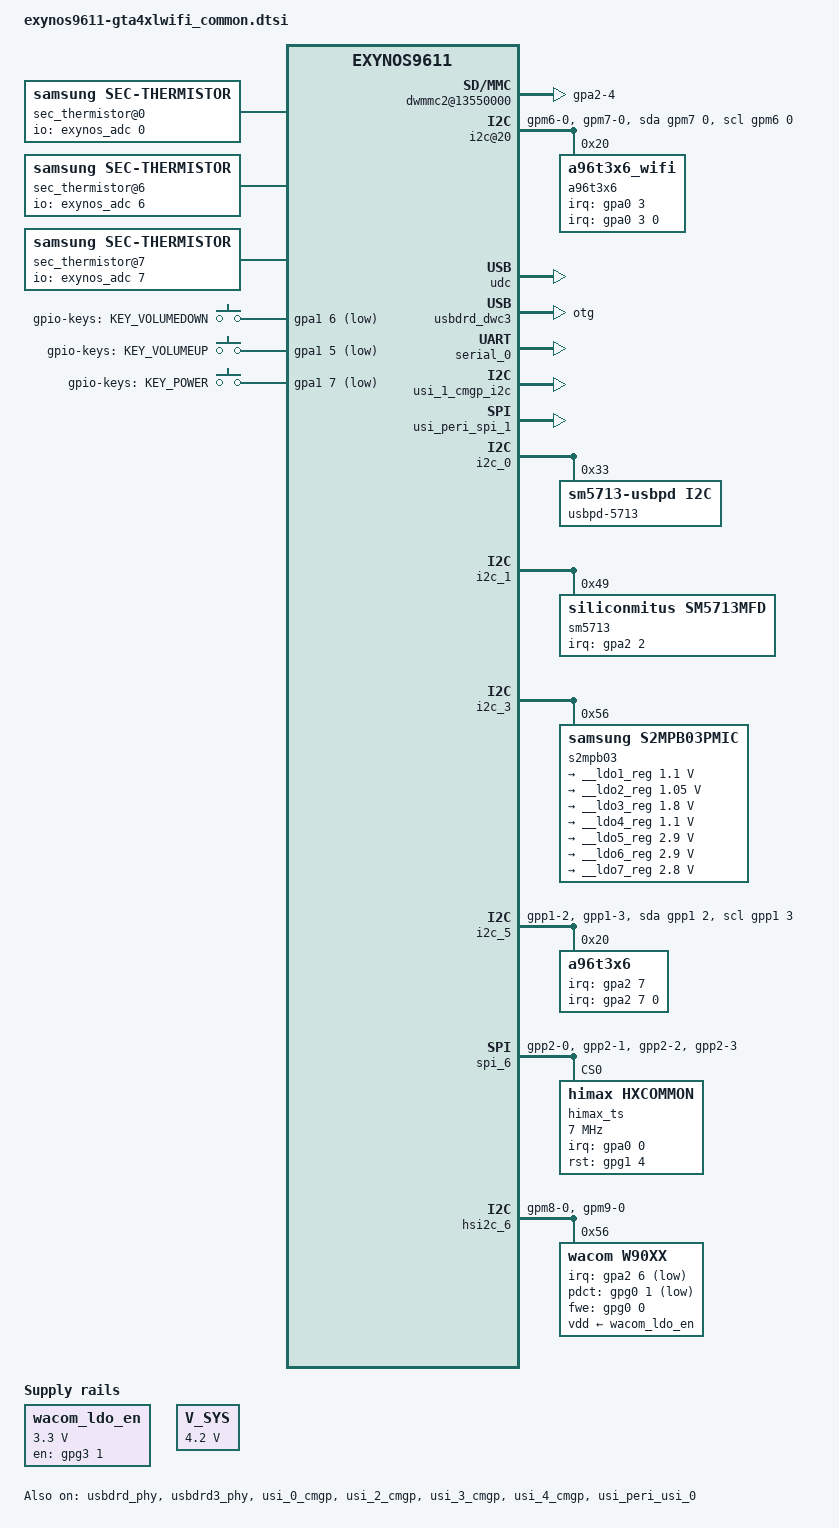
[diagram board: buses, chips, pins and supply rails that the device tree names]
/*
 * SAMSUNG EXYNOS9610 board device tree source
 *
 * Copyright (c) 2018 Samsung Electronics Co., Ltd.
 *		http://www.samsung.com
 *
 * This program is free software; you can redistribute it and/or modify
 * it under the terms of the GNU General Public License version 2 as
 * published by the Free Software Foundation.
 */

#include <dt-bindings/camera/fimc_is.h>
#include <dt-bindings/clock/exynos9610.h>
#include <dt-bindings/input/input.h>
#include <dt-bindings/interrupt-controller/irq.h>
#include <dt-bindings/gpio/gpio.h>
#include "modem-s327ap-sipc-wifi.dtsi"
#include "display-lcd_gta4xl_common.dtsi"
#include "exynos9611-gta4xlwifi_camera.dtsi"
#include "exynos9611-gta4xlwifi_sound.dtsi"
#include "exynos9611-gta4xlwifi_mst_00.dtsi"

/ {

	fragment@model {
		target-path = "/";
		__overlay__ {
			#address-cells = <2>;
			#size-cells = <1>;

			fixed-rate-clocks {
				oscclk {
					compatible = "samsung,exynos9610-oscclk";
					clock-frequency = <26000000>;
				};
			};

			secgpio_dvs {
				compatible = "samsung,exynos9610-secgpio-dvs";
				status = "okay";
			};

			sec_abc {
				compatible = "samsung,sec_abc";
				status = "okay";

				gpu {
					gpu,label="GPU fault";
					gpu,threshold_count=<20>;
					gpu,threshold_time=<1200>;
				};
				aicl {
					aicl,label="battery aicl";
					aicl,threshold_count=<5>;
					aicl,threshold_time=<300>;
				};
			};

			abc_hub {
				compatible = "samsung,abc_hub";
				status = "okay";

				bootc {
					bootc,time_spec_user = <100000>; /* user binary user build */
					bootc,time_spec_eng = <100000>; /* user binary eng build */
					bootc,time_spec_fac = <100000>; /* factory binary */
				};
			};

			speedy@11a10000 {
				#address-cells = <1>;
				#size-cells = <0>;
				status = "okay";
				s2mpu09mfd@00 {
					compatible = "samsung,s2mpu09mfd";
					acpm-ipc-channel = <2>;
					i2c-speedy-address;
					s2mpu09,wakeup = "enabled";
					s2mpu09,irq-gpio = <&gpa2 0 0>;
					reg = <0x00>;
					interrupts = <2 0 0>;
					interrupt-parent = <&gpa2>;
					pinctrl-names = "default";
					pinctrl-0 = <&pmic_irq &pm_wrsti>;
					/* RTC: wtsr/smpl */
					wtsr_en = "enabled"; /* enable */
					smpl_en = "enabled"; /* enable */
					wtsr_timer_val = <3>;	/* 1000ms */
					smpl_timer_val = <0>;	/* 100ms */
					check_jigon = <0>; /* do not check jigon */
					/* RTC: If it's first boot, reset rtc to 1/1/2019 12:00:00(Tue) */
					init_time,sec = <0>;
					init_time,min = <0>;
					init_time,hour = <12>;
					init_time,mday = <1>;
					init_time,mon = <0>;
					init_time,year = <119>;
					init_time,wday = <2>;

					regulators {
						b1_reg: BUCK1 {
							regulator-name = "vdd_mif";
							regulator-min-microvolt = <500000>;
							regulator-max-microvolt = <1100000>;
							regulator-always-on;
							regulator-ramp-delay = <12000>;
							regulator-initial-mode = <2>;
						};

						b2_reg: BUCK2 {
							regulator-name = "vdd_cpucl1";
							regulator-min-microvolt = <500000>;
							regulator-max-microvolt = <1300000>;
							regulator-always-on;
							regulator-ramp-delay = <12000>;
							regulator-initial-mode = <1>;
						};

						b3_reg: BUCK3 {
							regulator-name = "vdd_cpucl0";
							regulator-min-microvolt = <500000>;
							regulator-max-microvolt = <1300000>;
							regulator-always-on;
							regulator-ramp-delay = <12000>;
							regulator-initial-mode = <1>;
						};

						b4_reg: BUCK4{
							regulator-name = "vdd_int";
							regulator-min-microvolt = <500000>;
							regulator-max-microvolt = <1100000>;
							regulator-always-on;
							regulator-ramp-delay = <12000>;
							regulator-initial-mode = <2>;
						};

						b5_reg: BUCK5 {
							regulator-name = "vdd_g3d";
							regulator-min-microvolt = <500000>;
							regulator-max-microvolt = <1200000>;
							regulator-always-on;
							regulator-ramp-delay = <12000>;
							regulator-initial-mode = <2>;
						};

						b6_reg: BUCK6 {
							regulator-name = "vdd_cam_vipx";
							regulator-min-microvolt = <500000>;
							regulator-max-microvolt = <1300000>;
							regulator-always-on;
							regulator-ramp-delay = <12000>;
							regulator-initial-mode = <2>;
						};

						b7_reg: BUCK7 {
							regulator-name = "vdd2_mem";
							regulator-min-microvolt = <500000>;
							regulator-max-microvolt = <1300000>;
							regulator-always-on;
							regulator-ramp-delay = <12000>;
							regulator-initial-mode = <3>;
						};

						b8_reg: BUCK8 {
							regulator-name = "vdd_lldo";
							regulator-min-microvolt = <1200000>;
							regulator-max-microvolt = <1500000>;
							regulator-always-on;
							regulator-ramp-delay = <12000>;
							regulator-initial-mode = <3>;
						};

						b9_reg: BUCK9 {
							regulator-name = "vdd_mldo";
							regulator-min-microvolt = <1800000>;
							regulator-max-microvolt = <2100000>;
							regulator-always-on;
							regulator-ramp-delay = <12000>;
							regulator-initial-mode = <3>;
						};

						l1_reg: LDO1 {
							regulator-name = "vdd_ldo1";
							regulator-min-microvolt = <700000>;
							regulator-max-microvolt = <1300000>;
							regulator-always-on;
							regulator-ramp-delay = <12000>;
							regulator-initial-mode = <3>;
						};

						l2_reg: LDO2 {
							regulator-name = "vqmmc";
							regulator-min-microvolt = <1800000>;
							regulator-max-microvolt = <3375000>;
							regulator-ramp-delay = <12000>;
						};

						l3_reg: LDO3 {
							regulator-name = "vdd_ldo3";
							regulator-min-microvolt = <800000>;
							regulator-max-microvolt = <1950000>;
							regulator-always-on;
							regulator-ramp-delay = <12000>;
							regulator-initial-mode = <3>;
						};

						l4_reg: LDO4 {
							regulator-name = "vdd_ldo4";
							regulator-min-microvolt = <500000>;
							regulator-max-microvolt = <1100000>;
							regulator-always-on;
							regulator-ramp-delay = <12000>;
							regulator-initial-mode = <1>;
						};

						l5_reg: LDO5 {
							regulator-name = "vdd_ldo5";
							regulator-min-microvolt = <800000>;
							regulator-max-microvolt = <1300000>;
							regulator-always-on;
							regulator-ramp-delay = <12000>;
							regulator-initial-mode = <1>;
						};

						l6_reg: LDO6 {
							regulator-name = "vdd_ldo6";
							regulator-min-microvolt = <800000>;
							regulator-max-microvolt = <1300000>;
							regulator-always-on;
							regulator-ramp-delay = <12000>;
							regulator-initial-mode = <1>;
						};

						l7_reg: LDO7 {
							regulator-name = "vdd_ldo7";
							regulator-min-microvolt = <800000>;
							regulator-max-microvolt = <1950000>;
							regulator-always-on;
							regulator-ramp-delay = <12000>;
							regulator-initial-mode = <1>;
						};

						l8_reg: LDO8 {
							regulator-name = "vdd_ldo8";
							regulator-min-microvolt = <500000>;
							regulator-max-microvolt = <1300000>;
							regulator-always-on;
							regulator-ramp-delay = <12000>;
							regulator-initial-mode = <1>;
						};

						l9_reg: LDO9 {
							regulator-name = "vdd_ldo9";
							regulator-min-microvolt = <500000>;
							regulator-max-microvolt = <1300000>;
							regulator-always-on;
							regulator-ramp-delay = <12000>;
							regulator-initial-mode = <1>;
						};

						l10_reg: LDO10 {
							regulator-name = "vdd_ldo10";
							regulator-min-microvolt = <500000>;
							regulator-max-microvolt = <1300000>;
							regulator-always-on;
							regulator-ramp-delay = <12000>;
							regulator-initial-mode = <1>;
						};

						l11_reg: LDO11 {
							regulator-name = "vdd_ldo11";
							regulator-min-microvolt = <500000>;
							regulator-max-microvolt = <1300000>;
							regulator-always-on;
							regulator-ramp-delay = <12000>;
							regulator-initial-mode = <3>;
						};

						l12_reg: LDO12 {
							regulator-name = "vdd_ldo12";
							regulator-min-microvolt = <800000>;
							regulator-max-microvolt = <1300000>;
							regulator-ramp-delay = <12000>;
							regulator-initial-mode = <3>;
						};

						l13_reg: LDO13 {
							regulator-name = "vdd_ldo13";
							regulator-min-microvolt = <800000>;
							regulator-max-microvolt = <1950000>;
							regulator-ramp-delay = <12000>;
							regulator-initial-mode = <3>;
						};

						l14_reg: LDO14 {
							regulator-name = "vdd_ldo14";
							regulator-min-microvolt = <1800000>;
							regulator-max-microvolt = <3375000>;
							regulator-ramp-delay = <12000>;
							regulator-initial-mode = <3>;
						};

						l33_reg: LDO33 {
							regulator-name = "vdd_ldo33";
							regulator-min-microvolt = <1800000>;
							regulator-max-microvolt = <1800000>;
							regulator-initial-mode = <3>;
						};

						l34_reg: LDO34 {
							regulator-name = "vdd_ldo34";
							regulator-min-microvolt = <1800000>;
							regulator-max-microvolt = <3375000>;
							regulator-ramp-delay = <12000>;
						};

						l35_reg: LDO35 {
							regulator-name = "vmmc";
							regulator-min-microvolt = <1800000>;
							regulator-max-microvolt = <3375000>;
							regulator-ramp-delay = <12000>;
						};

						l36_reg: LDO36 {
							regulator-name = "vdd_ldo36";
							regulator-min-microvolt = <500000>;
							regulator-max-microvolt = <1300000>;
							regulator-always-on;
							regulator-ramp-delay = <12000>;
							regulator-initial-mode = <1>;
						};

						l37_reg: LDO37 {
							regulator-name = "vdd_ldo37";
							regulator-min-microvolt = <2800000>;
							regulator-max-microvolt = <2800000>;
							regulator-ramp-delay = <12000>;
						};

						l38_reg: LDO38 {
							regulator-name = "VDD_BTP_3P3";
							regulator-min-microvolt = <3300000>;
							regulator-max-microvolt = <3300000>;
							regulator-ramp-delay = <12000>;
						};

						l39_reg: LDO39 {
							regulator-name = "vdd_ldo39";
							regulator-min-microvolt = <1800000>;
							regulator-max-microvolt = <1800000>;
							regulator-initial-mode = <3>;
						};

						l40_reg: LDO40 {
							regulator-name = "regulator_3v3";
							regulator-min-microvolt = <3300000>;
							regulator-max-microvolt = <3300000>;
							regulator-initial-mode = <3>;
							regulator-boot-on;
						};

						l41_reg: LDO41 {
							regulator-name = "vdd_ldo41";
							regulator-min-microvolt = <1800000>;
							regulator-max-microvolt = <3375000>;
							regulator-ramp-delay = <12000>;
						};

						l42_reg: LDO42 {
							regulator-name = "regulator_1v8";
							regulator-min-microvolt = <1800000>;
							regulator-max-microvolt = <1800000>;
							regulator-ramp-delay = <12000>;
							regulator-initial-mode = <3>;
							regulator-boot-on;
						};

						l43_reg: LDO43 {
							regulator-name = "vdd_ldo43";
							regulator-min-microvolt = <500000>;
							regulator-max-microvolt = <1300000>;
							regulator-always-on;
							regulator-ramp-delay = <12000>;
							regulator-initial-mode = <1>;
						};

						l44_reg: LDO44 {
							regulator-name = "vdd_ldo44";
							regulator-min-microvolt = <1200000>;
							regulator-max-microvolt = <1200000>;
							regulator-ramp-delay = <12000>;
						};
					};
				};
			};

			sec_thermistor@0 {
				compatible = "samsung,sec-thermistor";
				status = "okay";
				thermistor_name = "sec-ap-thermistor";
				id = <0>;

				adc_array = <369 423 444 606 693 838 982 1144 1274 1457
					1680 1899 2091 2344 2617 2703 2895 3110 3194 3343
					3396>;
				temp_array = <800 750 700 650 600 550 500 450 400 350
					300 250 200 150 100 50 0 (-50) (-100) (-150)
					(-200)>;

				io-channels = <&exynos_adc 0>;
				io-channel-names = "adc-ap-temp";
				io-channel-ranges;
			};

			sec_thermistor@6 {
				compatible = "samsung,sec-thermistor";
				status = "okay";
				thermistor_name = "sec-wf-thermistor";
				id = <1>;

				adc_array = <418 486 569 673 777 916 1059 1222 1397 1590
					1797 2009 2222 2441 2660 2845 3030 3181 3317 3429
					3523>;
				temp_array = <800 750 700 650 600 550 500 450 400 350
					300 250 200 150 100 50 0 (-50) (-100) (-150)
					(-200)>;

				io-channels = <&exynos_adc 6>;
				io-channel-names = "adc-wf-temp";
				io-channel-ranges;
			};

			sec_thermistor@7 {
				compatible = "samsung,sec-thermistor";
				status = "okay";
				thermistor_name = "sec-bk-thermistor";
				id = <2>;

				adc_array = <414 475 560 654 755 887 1030 1161 1375 1572
					1789 2006 2226 2466 2703 2903 3100 3280 3425 3541
					3657>;
				temp_array = <800 750 700 650 600 550 500 450 400 350
					300 250 200 150 100 50 0 (-50) (-100) (-150)
					(-200)>;

				io-channels = <&exynos_adc 7>;
				io-channel-names = "adc-bk-temp";
				io-channel-ranges;
			};

			exynos_rgt {
				compatible = "samsung,exynos-rgt";
			};

			mailbox_cp: mcu_ipc@11920000 {
				compatible = "samsung,exynos-shd-ipc-mailbox";
				reg = <0x0 0x11920000 0x180>;
				mcu,name = "mcu_ipc_cp";
				mcu,id = <0>;
				interrupts = <0 40 0 >;
				mcu,irq_affinity_mask = <3>;
			};

			mif_pdata {
				/* GPIOs for HW REV */
				/* XGPIO27-AP_REV0, XGPIO28-AP_REV1, XGPIO29-AP_REV2 */
				gpios = <&gpg3 3 0>, <&gpg3 4 0>, <&gpg3 5 0>;
				pinctrl-names = "default";
			};

			mailbox_gnss: mcu_ipc@11A00000 {
				compatible = "samsung,exynos-shd-ipc-mailbox";
				reg = <0x0 0x11A00000 0x180>;
				mcu,name = "mcu_ipc_gnss";
				mcu,id = <1>;
				interrupts = <0 43 0>; /* INTREQ__MAILBOX_GNSS2AP */
			};

			gnss_pdata {
				status = "okay";

				compatible = "samsung,gnss_shdmem_if";
				shmem,name = "KEPLER";
				shmem,device_node_name = "gnss_ipc";

				/* INTREQ__ALIVE_GNSS_ACTIVE, INTREQ__GNSS2AP_WDOG_RESET, INTREQ__GNSS2AP_WAKEUP, INTREQ__GNSS2AP */
				interrupts = <0 27 0>, <0 81 0>, <0 80 0>, <0 79 0>;
				interrupt-names = "ACTIVE", "WATCHDOG", "WAKEUP", "REQ_INIT";

				memory-region = <&gnss_reserved>;
				mbox_info = <&mailbox_gnss>;

				mbx,int_ap2gnss_bcmd = <0>;
				mbx,int_ap2gnss_req_fault_info = <1>;
				mbx,int_ap2gnss_ipc_msg = <2>;
				mbx,int_ap2gnss_ack_wake_set = <3>;
				mbx,int_ap2gnss_ack_wake_clr = <4>;

				mbx,irq_gnss2ap_bcmd = <0>;
				mbx,irq_gnss2ap_rsp_fault_info = <1>;
				mbx,irq_gnss2ap_ipc_msg = <2>;
				mbx,irq_gnss2ap_req_wake_clr = <4>;

				mbx,reg_bcmd_ctrl = <0>, <1>, <2>, <3>;

				reg_rx_ipc_msg = <1 5>;
				reg_tx_ipc_msg = <1 4>;
				reg_rx_head = <1 3>;
				reg_rx_tail = <1 2>;
				reg_tx_head = <1 1>;
				reg_tx_tail = <1 0>;
				fault_info = <1 0x200000 0x180000>;

				shmem,ipc_offset = <0x380000>;
				shmem,ipc_size = <0x80000>;
				shmem,ipc_reg_cnt = <32>;
			};

			gpio_keys {
				#address-cells = <1>;
				#size-cells = <0>;
				compatible = "gpio-keys";
				status = "okay";
				pinctrl-names = "default";
				pinctrl-0 = <&key_voldown &key_volup &key_power>;
				button@2 {
					label = "gpio-keys: KEY_VOLUMEDOWN";
					linux,code = <114>;
					gpios = <&gpa1 6 0xf>;
				};
				button@3 {
					label = "gpio-keys: KEY_VOLUMEUP";
					linux,code = <115>;
					gpios = <&gpa1 5 0xf>;
				};
				button@4 {
					label = "gpio-keys: KEY_POWER";
					linux,code = <116>;
					gpios = <&gpa1 7 0xf>;
					gpio-key,wakeup = <1>;
				};
			};

			wacom_ldo_en: wacom-ldo-en {
				compatible = "regulator-fixed";
				regulator-name = "wacom_3.3v";
				regulator-min-microvolt = <3300000>;
				regulator-max-microvolt = <3300000>;
				gpio = <&gpg3 1 0>;
				enable-active-high;
			};

			usb_notifier {
				compatible = "samsung,usb-notifier";
				udc = <&udc>;
				disable_host_wakelock;
			};

			V_SYS: fixedregulator@1 {
				compatible = "regulator-fixed";
				regulator-name = "V_SYS";
				regulator-min-microvolt = <4200000>;
				regulator-max-microvolt = <4200000>;
				regulator-boot-on;
				regulator-always-on;
			};

			dwmmc2@13550000 {
				status = "okay";
				num-slots = <1>;
				supports-4bit;
				supports-cmd23;
				supports-erase;
				supports-highspeed;
				sd-uhs-sdr50;
				sd-uhs-sdr104;
				card-detect-gpio;
				bypass-for-allpass;
				card-init-hwacg-ctrl;
				skip-init-mmc-scan;
				qos-dvfs-int-level = <533000>;
				qos-dvfs-mif-level = <676000>;
				fifo-depth = <0x40>;
				desc-size = <4>;
				card-detect-delay = <200>;
				data-timeout = <200>;
				hto-timeout = <80>;
				samsung,dw-mshc-ciu-div = <3>;
				clock-frequency = <800000000>;
				ssc-rate = <3>;
				samsung,dw-mshc-sdr-timing = <3 0 2 0>;
				samsung,dw-mshc-ddr-timing = <3 0 2 1>;
				samsung,dw-mshc-sdr50-timing = <3 0 4 2>;
				samsung,dw-mshc-sdr104-timing = <3 0 3 0>;

				num-ref-clks = <9>;
				ciu_clkin = <25 50 50 25 50 100 200 50 50>;

				/* Swapping clock drive strength */
				clk-drive-number = <4>;
				pinctrl-names = "default",
					"fast-slew-rate-1x",
					"fast-slew-rate-2x",
					"fast-slew-rate-3x",
					"fast-slew-rate-4x";
				pinctrl-0 = <&sd2_clk &sd2_cmd &sd2_bus1 &sd2_bus4 &dwmmc2_cd_ext_irq>;
				pinctrl-1 = <&sd2_clk_fast_slew_rate_1x>;
				pinctrl-2 = <&sd2_clk_fast_slew_rate_2x>;
				pinctrl-3 = <&sd2_clk_fast_slew_rate_3x>;
				pinctrl-4 = <&sd2_clk_fast_slew_rate_4x>;

				card-detect = <&gpa2 4 0xf>;
				sec-sd-slot-type = <2>; /* Hybrid Tray SD slot */
				#address-cells = <1>;
				#size-cells = <0>;

				slot@0 {
					reg = <0>;
					bus-width = <4>;
					disable-wp;
				};
			};

			usb_hs_tune:usb_hs_tune {
				hs_tune_cnt = <12>;

				/* value = <device host> */
				hs_tune1 {
					tune_name = "tx_vref";
					tune_value = <0xf 0xa>;
				};

				hs_tune2 {
					tune_name = "tx_pre_emp";
					tune_value = <0x3 0x3>;
				};

				hs_tune3 {
					tune_name = "tx_pre_emp_plus";
					tune_value = <0x0 0x0>;
				};

				hs_tune4 {
					tune_name = "tx_res";
					tune_value = <0x3 0x3>;
				};

				hs_tune5 {
					tune_name = "tx_rise";
					tune_value = <0x3 0x3>;
				};

				hs_tune6 {
					tune_name = "tx_hsxv";
					tune_value = <0x3 0x3>;
				};

				hs_tune7 {
					tune_name = "tx_fsls";
					tune_value = <0x3 0x3>;
				};

				hs_tune8 {
					tune_name = "rx_sqrx";
					tune_value = <0x7 0x7>;
				};

				hs_tune9 {
					tune_name = "compdis";
					tune_value = <0x7 0x7>;
				};

				hs_tune10 {
					tune_name = "otg";
					tune_value = <0x2 0x2>;
				};

				hs_tune11 {
				/* true : 1, false: 0 */
				/* <enable_user_imp user_imp_value> */
					tune_name = "enable_user_imp";
					tune_value = <0x0 0x0>;
				};

				hs_tune12 {
				/* PHY clk : 1 , FREE clk : 0 */
					tune_name = "is_phyclock";
					tune_value = <0x1 0x1>;
				};
			};

			/* Secure RPMB */
			ufs-srpmb {
				compatible = "samsung,ufs-srpmb";
				interrupts = <0 460 0>;
			};

			usb3_ss_tune:usb3_ss_tune {
				ss_tune_cnt = <15>;

				/* value = <device host> */
				ss_tune1 {
					tune_name = "tx0_term_offset";
					tune_value = <0x0 0x0>;
				};

				ss_tune2 {
					tune_name = "pcs_tx_swing_full";
					tune_value = <0x7f 0x7f>;
				};

				ss_tune3 {
					tune_name = "pcs_tx_deemph_6db";
					tune_value = <0x1c 0x1c>;
				};

				ss_tune4 {
					tune_name = "pcs_tx_deemph_3p5db";
					tune_value = <0x1c 0x1c>;
				};

				ss_tune5 {
					tune_name = "tx_vboost_lvl_sstx";
					tune_value = <0x7 0x7>;
				};

				ss_tune6 {
					tune_name = "tx_vboost_lvl";
					tune_value = <0x4 0x4>;
				};

				ss_tune7 {
					tune_name = "los_level";
					tune_value = <0x9 0x9>;
				};

				ss_tune8 {
					tune_name = "los_bias";
					tune_value = <0x5 0x5>;
				};

				ss_tune9 {
					tune_name = "pcs_rx_los_mask_val";
					tune_value = <0x104 0x104>;
				};

				ss_tune10 {
					tune_name = "tx_eye_height_cntl_en";
					tune_value = <0x1 0x1>;
				};

				ss_tune11 {
					tune_name = "pipe_tx_deemph_update_delay";
					tune_value = <0x2 0x2>;
				};

				ss_tune12 {
					tune_name = "pcs_tx_swing_full_sstx";
					tune_value = <0x7f 0x7f>;
				};
				ss_tune13 {
					tune_name = "rx_eq_fix_val";
					tune_value = <0x2 0x2>;
				};

				ss_tune14 {
					tune_name = "rx_decode_mode";
					tune_value = <0x1 0x1>;
				};

				ss_tune15 {
					tune_name = "decrese_ss_tx_imp";
					tune_value = <0x1 0x1>;
				};
			};

			usb3_hs_tune:usb3_hs_tune {
				hs_tune_cnt = <10>;

				/* value = <device host> */
				hs_tune1 {
					tune_name = "tx_pre_emp";
					tune_value = <0x3 0x3>;
				};

				hs_tune2 {
					tune_name = "tx_pre_emp_plus";
					tune_value = <0x0 0x0>;
				};

				hs_tune3 {
					tune_name = "tx_vref";
					tune_value = <0x7 0x7>;
				};

				hs_tune4 {
					tune_name = "rx_sqrx";
					tune_value = <0x7 0x7>;
				};

				hs_tune5 {
					tune_name = "tx_rise";
					tune_value = <0x3 0x3>;
				};

				hs_tune6 {
					tune_name = "compdis";
					tune_value = <0x7 0x7>;
				};

				hs_tune7 {
					tune_name = "tx_hsxv";
					tune_value = <0x3 0x3>;
				};

				hs_tune8 {
					tune_name = "tx_fsls";
					tune_value = <0x3 0x3>;
				};

				hs_tune9 {
					tune_name = "tx_res";
					tune_value = <0x3 0x3>;
				};

				hs_tune10 {
					tune_name = "utim_clk";
					tune_value = <0x1 0x1>;
				};
			};

			wacom_hall {
				status = "okay";
				compatible = "wacom_hall";
				pinctrl-names = "default";
				pinctrl-0 = <&wacom_hall_irq>;
				wacom_hall,gpio_wacom_cover = <&gpa1 1 0>;
			};

			nad_balancer {
				compatible = "samsung,sec_nad_balancer";
				status = "okay";

				nad_balancer,timeout = <400>;

				qos {
					cl0 {
						qos,label="LIT";
						qos,delay_time=<10>;
						qos,table_size=<13>;
						qos,table=<1742000 1638000 1534000 1456000 1326000 1222000 1118000 1053000 910000
								806000 702000 598000 403000>;
					};

					cl1 {
						qos,label="BIG";
						qos,delay_time=<10>;
						qos,table_size=<15>;
						qos,table=<2314000 2210000 2184000 2080000 1976000 1898000 1768000 1664000 1508000
								1456000 1352000 1248000 1144000 1040000 936000>;
					};

					mif {
						qos,label="MIF";
						qos,delay_time=<10>;
						qos,table_size=<10>;
						qos,table=<2093000 2002000 1794000 1539000 13352000 1014000 845000 676000 546000 419000>;
					};
				};

				sleep {
					/* per msec */
					sleep,suspend_threshold = <1000>;
					sleep,resume_threshold = <1000>;
				};
			};

			argos {
				compatible = "samsung,argos";
				#address-cells = <1>;
				/*  The device number should be assigned for each device, e.g. "boot_device@1" and "boot_device@2".
				 * Duplicated number is not allowed. Please refer the below example.
				 */

				/* Table Format
				 * threshold : throughput threshold(Mbps)
				 * big_min : Big Core's minimum frequency lock. 0 means not set,
				 * big_max : Big Core's maximum frequency lock. 0 means not set,
				 * lit_min : Little Core's minimum frequency lock. 0 means not set,
				 * lit_max : Little Core's maximum frequency lock. 0 means not set,
				 * mif : MIF frequency lock. 0 means not set,
				 * int : INT frequency lock. 0 means not set,
				 * task_affinity : "enable" - Set task affinity lock.
				 *	           "disable" - Not set or unlock,
				 *		   Task affinity should be predefined driver's code.
				 * irq_affinity : "enable" - Set irq affinity lock.
				 *                "disable" - Not set or unlock,
				 *		  IRQ affinity should be predefined driver's code.
				 * hmp_boot : "enable" - Increase hmp boosting count
				 *            "disable" - Decrease hmp boosting count
				 */

				boot_device@1 {
					net_boost,label="IPC";
					net_boost,node="rmnet0 rmnet1 rmnet2 rmnet3 rmnet4 rmnet5 rmnet6 rmnet7 umts_dm0";
					net_boost,table {
						level_0 {
							threshold = <50>; /* Mbps */
							lit_min = <910000>;
							mif = <845000>;
						};
						level_1 {
							threshold = <100>; /* Mbps */
							lit_min = <1326000>;
							mif = <1014000>;
						};
						level_2 {
							threshold = <200>; /* Mbps */
							lit_min = <1534000>;
							mif = <1352000>;
						};
						level_3 {
							threshold = <300>; /* Mbps */
							big_min = <1664000>;
							lit_min = <1456000>;
							mif = <1539000>;
						};
					};
				};

				boot_device@2 {
					net_boost,label="CLAT";
					net_boost,node="clat clat4 v4-rmnet0 v4-rmnet1 v4-rmnet2 v4-rmnet3 v4-rmnet4 v4-rmnet5 v4-rmnet6 v4-rmnet7";
					net_boost,table {
						level_0 {
							threshold = <100>; /* Mbps */
							big_min = <1040000>;
							mif = <1014000>;
						};
						level_1 {
							threshold = <150>; /* Mbps */
							big_min = <1248000>;
							mif = <1352000>;
						};
						level_2 {
							threshold = <200>; /* Mbps */
							big_min = <1456000>;
							mif = <2093000>;
						};
					};
				};

				boot_device@3 {
					net_boost,label="USB";
					net_boost,node="rndis0";
					net_boost,table {
						level_0 {
							threshold = <0>; /* Mbps */
							irq_affinity = "enable";
						};
					};
				};
				
				boot_device@4 {
					net_boost,label="WIFI TX";
					net_boost,node="wlan0";
					net_boost,table {
						level_0 {
							threshold = <100>; /* Mbps */
							big_min = <1976000>;
							lit_min = <1326000>;
							mif = <1014000>;
						};
						level_1 {
							threshold = <150>; /* Mbps */
							big_min = <2184000>;
							lit_min = <1534000>;
							mif = <1352000>;
						};
						level_2 {
							threshold = <200>; /* Mbps */
							big_min = <2210000>;
							lit_min = <1638000>;
							mif = <1352000>;
						};
					};
				};
			};

			i2c@20 {
				compatible = "i2c-gpio";
				gpios = <&gpm7 0 0
						&gpm6 0 0>;
				i2c-gpio,delay-us = <2>;
				pinctrl-names = "default","on_i2c","off_i2c";
				pinctrl-0 = <&grip_wifi_i2c>;
				#address-cells = <1>;
				#size-cells = <0>;
				status = "okay";
			
				a96t3x6@20 {
					compatible = "a96t3x6_wifi";
					pinctrl-names = "default";
					pinctrl-0 = <&grip_wifi_int>;
					reg = <0x20>;
					interrupts = <3 0 0>;
					interrupt-parent = <&gpa0>;
					a96t3x6,irq_gpio = <&gpa0 3 0>;
					a96t3x6,ldo_en = <&gpg2 1 0>;
					a96t3x6,fw_path = "abov/a96t356_taba4xl_wifi.fw";
					a96t3x6,firmup_cmd = <0x3b>;
					a96t3x6,earjack_noise = <1>;
				};
			};
		};
	};
};

&shared_meta {
	status = "disabled";
};

&android_q_fstab {
	status = "disabled";
};

&udc {
	status = "okay";
	dwc3 {
		dr_mode = "otg";
		maximum-speed = "high-speed";
	};
};

&usbdrd_dwc3 {
	dr_mode = "otg";
	maximum-speed = "high-speed";

	/* usb_audio_offloading = <1>; */
	/* abox = <&abox>; */

	ldo-names = "vdd_ldo12", "vdd_ldo13", "vdd_ldo14";
};

&usbdrd_phy {
	status = "okay";
	usb3phy-isolation = <1>;
	hs_tune_param = <&usb_hs_tune>;
};

&usbdrd3_phy {
	status = "okay";
	usb3phy-isolation = <1>;
	hs_tune_param = <&usb3_hs_tune>;
	ss_tune_param = <&usb3_ss_tune>;
};

&serial_0 {
	samsung,uart-logging;
	status = "okay";
};

&pinctrl_0 {
	key_voldown: key-voldown {
		samsung,pins = "gpa1-6";
		samsung,pin-function = <0xf>;
		samsung,pin-pud = <0>;
		samsung,pin-drv = <0>;
	};

	key_volup: key-volup {
		samsung,pins = "gpa1-5";
		samsung,pin-function = <0xf>;
		samsung,pin-pud = <0>;
		samsung,pin-drv = <0>;
	};

	key_power: key-power {
		samsung,pins = "gpa1-7";
		samsung,pin-function = <0xf>;
		samsung,pin-pud = <0>;
		samsung,pin-drv = <0>;
	};

	attn_irq: attn-irq {
		samsung,pins = "gpa0-0";
		samsung,pin-function = <0xf>;
		samsung,pin-pud = <0>;
		samsung,pin-drv = <0>;
	};

	attn_input: attn-input {
		samsung,pins = "gpa0-0";
		samsung,pin-function = <0>;
		samsung,pin-pud = <0>;
	};

	epen_int_active: epen-int-active {
		samsung,pins = "gpa2-6";
		samsung,pin-function = <0xf>;
		samsung,pin-pud = <0>;
		samsung,pin-drv = <0>;
	};

	if_pmic_irq: if-pmic-irq {
		samsung,pins = "gpa2-2";
		samsung,pin-function = <0>;
		samsung,pin-pud = <0>;
		samsung,pin-drv = <0>;
	};

	pmic_irq: pmic-irq {
		samsung,pins = "gpa2-0";
		samsung,pin-pud = <3>;
		samsung,pin-drv = <3>;
	};

	codec_irq: codec_irq {
		samsung,pins ="gpa1-2";
		samsung,pin-function = <0xf>;
		samsung,pin-pud = <0>;
	};

	dwmmc2_cd_ext_irq: dwmmc2_cd_ext_irq {
		samsung,pins = "gpa2-4";
		samsung,pin-function = <0xf>;
		samsung,pin-pud = <0>;
		samsung,pin-drv = <3>;
	};

	grip_wifi_int: grip_wifi_int {
		samsung,pins = "gpa0-3";
		samsung,pin-function = <0xf>;
		samsung,pin-pud = <0>;
		samsung,pin-drv = <0>;
	};

	grip_int: grip_int {
		samsung,pins = "gpa2-7";
		samsung,pin-function = <0xf>;
		samsung,pin-pud = <0>;
		samsung,pin-drv = <0>;
	};
	wacom_hall_irq: wacom-hall-irq {
		samsung,pins = "gpa1-1";
		samsung,pin-function = <0xf>;
		samsung,pin-pud = <0>;
		samsung,pin-drv = <0>;
	};

	usbpd_irq: usbpd-irq {
		samsung,pins = "gpa2-3";
		samsung,pin-function = <0x0f>;
		samsung,pin-pud = <0>;
		samsung,pin-drv = <0>;
	};
};

&pinctrl_1 {
	hsi2c6_bus: hsi2c6-bus {
		samsung,pins = "gpm8-0", "gpm9-0";
		samsung,pin-function = <2>;
		samsung,pin-pud = <0>;
		samsung,pin-drv = <0>;
	};

	grip_wifi_i2c: grip-wifi-i2c {
		samsung,pins = "gpm6-0", "gpm7-0";
		samsung,pin-function = <2>;
		samsung,pin-pud = <0>;
		samsung,pin-drv = <0>;
	};
};

&pinctrl_4 {
	/* Warm reset information from AP */
	pm_wrsti: pm-wrsti {
		samsung,pins = "gpg0-7";
		samsung,pin-con-pdn = <3>;
	};

	epen_pdct_active: epen-pdct-active {
		samsung,pins = "gpg0-1";
		samsung,pin-function = <0xf>;
		samsung,pin-pud = <0>;
		samsung,pin-drv = <0>;
	};

	/* USI_PERI_SPI_0  */
	spi6_bus: spi6-bus {
		samsung,pins = "gpp2-0", "gpp2-1", "gpp2-2", "gpp2-3";
		samsung,pin-function = <2>;
		samsung,pin-pud = <0>;
		samsung,pin-drv = <0>;
	};

	spi6_off: spi6-off {
		samsung,pins = "gpp2-0", "gpp2-1", "gpp2-2", "gpp2-3";
		samsung,pin-function = <0>;
		samsung,pin-pud = <1>;
		samsung,pin-drv = <0>;
	};
	i2c5_bus: i2c5-bus {
		samsung,pins = "gpp1-2", "gpp1-3";
		samsung,pin-function = <2>;
		samsung,pin-pud = <0>;
		samsung,pin-drv = <0>;
	};
};

&fmp_0 {
	 exynos,block-type = "sda";
	 exynos,fips-block_offset = <5>;
};

/* USI_0_SHUB */
&usi_0_shub {
	status = "disabled";
};

/* USI_SHUB_0_I2C */
&usi_0_shub_i2c {
	/*	usi_v2_mode = "i2c" or "spi" or "uart"	*/
	status = "disabled";
};

/* USI_0_CMGP */
&usi_0_cmgp {
	/*	usi_v2_mode = "i2c" or "spi" or "uart"	*/
	usi_v2_mode = "spi";
	status = "okay";
};

/* USI_0_CMGP_I2C */
&usi_0_cmgp_i2c {
	/*	usi_v2_mode = "i2c" or "spi" or "uart"	*/
	status = "disabled";
};

/* USI_1_CMGP */
&usi_1_cmgp {
	/*	usi_v2_mode = "i2c" or "spi" or "uart"	*/
	status = "disabled";
};

/* USI_1_CMGP_I2C */
&usi_1_cmgp_i2c {
	usi_v2_mode = "i2c";
	status = "okay";
};

/* USI_2_CMGP */
&usi_2_cmgp {
	/*	usi_v2_mode = "i2c" or "spi" or "uart"	*/
	usi_v2_mode = "i2c";
	status = "okay";
};

/* USI_2_CMGP_I2C */
&usi_2_cmgp_i2c {
	/*	usi_v2_mode = "i2c" or "spi" or "uart"	*/
	status = "disabled";
};

/* USI_3_CMGP */
&usi_3_cmgp {
	usi_v2_mode = "i2c";
	status = "okay";
};

/* USI_3_CMGP_I2C */
&usi_3_cmgp_i2c {
	/*	usi_v2_mode = "i2c" or "spi" or "uart"	*/
	status = "disabled";
};

/* USI_4_CMGP */
&usi_4_cmgp {
	usi_v2_mode = "uart";
	status = "okay";
};

/* USI_4_CMGP_I2C */
&usi_4_cmgp_i2c {
	status = "disabled";
};

/* USI_PERI_USI_0 */
&usi_peri_usi_0 {
	usi_v2_mode = "i2c";
	status = "okay";
};

/* USI_PERI_USI_0_I2C */
&usi_peri_usi_0_i2c {
	/*	usi_v2_mode = "i2c" or "spi" or "uart"	*/
	status = "disabled";
};

/* USI_PERI_SPI_1 */
&usi_peri_spi_1 {
	usi_v2_mode = "spi";
	status = "okay";
};

&chosen {
	bootargs_ext = "root=/dev/ram0 androidboot.boot_devices=13520000.ufs";
};

&i2c_0 {
	i2c-gpio,delay-us = <5>;
	status = "okay";
	samsung,glitch-filter;
	samsung,fix-doxfer-return;
	#address-cells = <1>;
	#size-cells = <0>;
	samsung,i2c-max-bus-freq = <400000>;
	usbpd-5713@33 {
		compatible = "sm5713-usbpd,i2c";
		reg = <0x33>;
		pinctrl-names = "default";
		/* vconn-en; */
		support_pd_role_swap;
		pinctrl-0 = <&usbpd_irq>;
		usbpd,usbpd_int = <&gpa2 3 0>;
	};
};

&i2c_1 {
	#address-cells = <1>;
	#size-cells = <0>;
	status = "okay";
	samsung,glitch-filter;
	samsung,fix-doxfer-return;
	samsung,i2c-max-bus-freq = <400000>;
	sm5713@49{
		compatible = "siliconmitus,sm5713mfd";
		reg = <0x49>;
		pinctrl-names = "default";
		pinctrl-0 = <&chg_en &if_pmic_irq>;
		sm5713,irq-gpio = <&gpa2 2 0>;
		sm5713,wakeup;
	};
};

&i2c_3 {
	status = "okay";
	#address-cells = <1>;
	#size-cells = <0>;
	s2mpb03@56 {
		compatible = "samsung,s2mpb03pmic";
		reg = <0x56>;

		s2mpb03,wakeup;

		regulators {
			__ldo1_reg: s2mpb03-ldo1 {
				regulator-name = "CAM_VLDO1";
				regulator-min-microvolt = <1100000>;
				regulator-max-microvolt = <1100000>;
			};

			__ldo2_reg: s2mpb03-ldo2 {
				regulator-name = "CAM_VLDO2";
				regulator-min-microvolt = <1050000>;
				regulator-max-microvolt = <1050000>;
			};

			__ldo3_reg: s2mpb03-ldo3 {
				regulator-name = "CAM_VLDO3";
				regulator-min-microvolt = <1800000>;
				regulator-max-microvolt = <1800000>;
			};

			__ldo4_reg: s2mpb03-ldo4 {
				regulator-name = "CAM_VLDO4";
				regulator-min-microvolt = <1100000>;
				regulator-max-microvolt = <1100000>;
			};

			__ldo5_reg: s2mpb03-ldo5 {
				regulator-name = "CAM_VLDO5";
				regulator-min-microvolt = <2900000>;
				regulator-max-microvolt = <2900000>;
			};

			__ldo6_reg: s2mpb03-ldo6 {
				regulator-name = "CAM_VLDO6";
				regulator-min-microvolt = <2900000>;
				regulator-max-microvolt = <2900000>;
			};

			__ldo7_reg: s2mpb03-ldo7 {
				regulator-name = "CAM_VLDO7";
				regulator-min-microvolt = <2800000>;
				regulator-max-microvolt = <2800000>;
			};
		};
	};
};

&i2c_5 {
	compatible = "i2c-gpio";
	gpios = <&gpp1 2 0
			&gpp1 3 0>;
	pinctrl-names = "default","on_i2c","off_i2c";
	pinctrl-0 = <&i2c5_bus>;
	#address-cells = <1>;
	#size-cells = <0>;
	samsung,i2c-sda-delay = <100>;
	samsung,i2c-max-bus-freq = <400000>;
	status = "okay";

	a96t3x6@20 {
		compatible = "a96t3x6";
		pinctrl-names = "default";
		pinctrl-0 = <&grip_int>;
		reg = <0x20>;
		interrupts = <7 0 0>;
		interrupt-parent = <&gpa2>;
		a96t3x6,irq_gpio = <&gpa2 7 0>;
		a96t3x6,ldo_en = <&gpg2 1 0>;
		a96t3x6,fw_path = "abov/a96t356_taba4xl.fw";
		a96t3x6,firmup_cmd = <0x3b>;
		a96t3x6,earjack_noise = <1>;
	};
};

&spi_6 {
	status = "okay";
	/delete-property/pinctrl-names;
	/delete-property/pinctrl-0;
	pinctrl-names = "on_state", "off_state";
	pinctrl-0 = <&spi6_bus>;
	pinctrl-1 = <&spi6_off>;
	himax_ts@0 {
		spi-max-frequency = <7000000>;
		compatible = "himax,hxcommon";
		reg = <0>;
		status = "okay";
		pinctrl-names = "on_state", "off_state";
		pinctrl-0 = <&spi6_bus &attn_irq>;
		pinctrl-1 = <&spi6_off &attn_input>;
		himax,irq-gpio = <&gpa0 0 0>;
		himax,rst-gpio = <&gpg1 4 0>;
		himax,panel-coords = <0 1200 0 2000>;
		himax,display-coords = <0 1200 0 2000>;
		himax,project_name = "GTA4XL", "P615";
		himax,area-size = <80 81 60>; /* indicator: using notch: 80px navigator:48dp~88px edge:60px | dpi:269*/ 
		himax,fw-path = "tsp_himax/hx83102e_gta4xl.fw"; /* path fw for CU IC*/
		himax,fw-path_old = "tsp_himax/hx83102e_gta4xl_old.fw"; /* path fw for AL IC*/
		report_type = <1>;
		himax,factory_item_version = <1>;
		support_aot = "1";
		support_dual_fw = <1>;
		controller-data {
			samsung,spi-feedback-delay = <0>;
			samsung,spi-chip-select-mode = <0>;
		};
	};
};

&hsi2c_6 {
	status = "okay";
	samsung,i2c-sda-delay = <100>;
	samsung,i2c-max-bus-freq = <400000>;
	samsung,reset-before-trans;
	pinctrl-names = "default";
	pinctrl-0 = <&hsi2c6_bus>;

	wacom@56 {
		compatible = "wacom,w90xx";
		reg = <0x56>;
		pinctrl-names = "default";
		pinctrl-0 = <&epen_int_active &epen_pdct_active>;
		vdd-supply = <&wacom_ldo_en>;
		/* gpios */
		wacom,irq-gpio = <&gpa2 6 1>;
		wacom,pdct-gpio = <&gpg0 1 1>;
		wacom,fwe-gpio = <&gpg0 0 0>;
		wacom,irq_type = <IRQ_TYPE_LEVEL_LOW>;
		wacom,pdct_type = <IRQ_TYPE_EDGE_BOTH>;
		/* features */
		wacom,boot_addr = <0x09>;
		wacom,origin = <0 0>; /* x y */
		wacom,max_coords = <22560 13536>; /* x y */
		wacom,max_pressure = <4095>;
		wacom,max_x_tilt = <63>;
		wacom,max_y_tilt = <63>;
		wacom,max_height = <255>;
		wacom,project_name = "WISDOM", "T615";
		wacom,invert = <0 1 1>; /* x y switch */
		wacom,fw_path = "epen/wacom9019_gta4xl.fw";
		wacom,ic_type = <9019>;
		wacom,support_aop_mode = "1"; /* S-note want to check to use aop */
		/*wacom,support_dex_mode;*/
		};
};

&reserved_memory {
	secure_camera {
		compatible = "exynos9820-ion";
		ion,heapname = "secure_camera_heap";
		reg = <0x0 0xE1900000 0x2000000>;
		ion,secure;
		ion,protection_id = <11>;
		ion,alignment = <0x10000>;
	};
	camera_contig {
		compatible = "exynos9820-ion";
		ion,heapname = "camera_heap";
		reg = <0x0 0xDB900000 0x700000>;
		ion,secure;
		ion,protection_id = <10>;
	};
};
